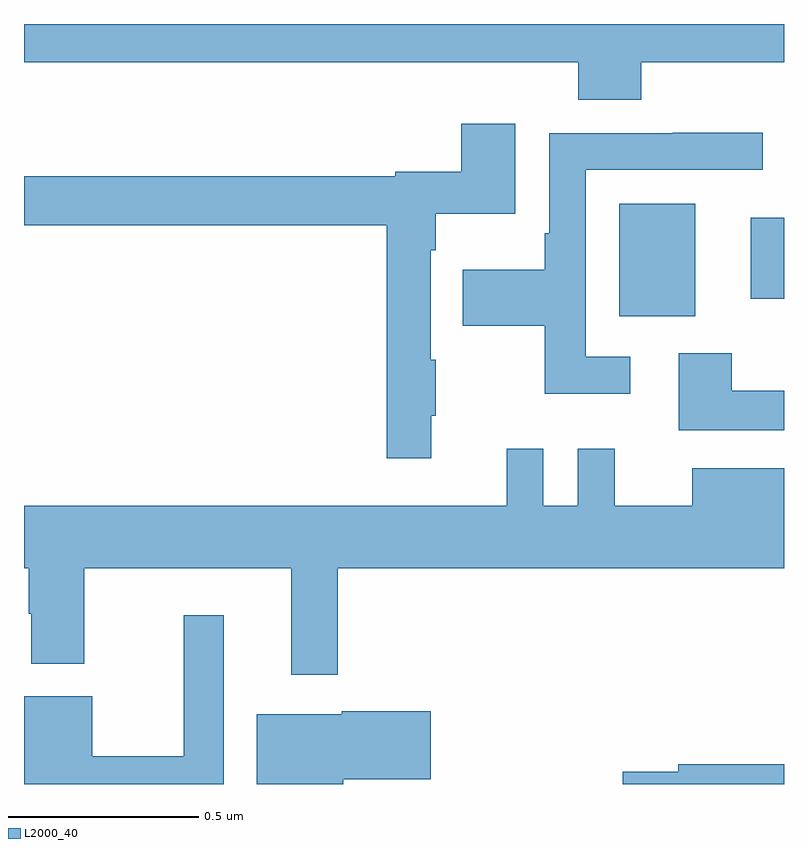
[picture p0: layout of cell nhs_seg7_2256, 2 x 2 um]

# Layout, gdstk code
import gdstk
lib = gdstk.Library(unit=1e-6, precision=1e-09)
def R(c, l, rs):  # rectangles x0, y0, x1, y1
    for r in rs: c.add(gdstk.rectangle(r[:2], r[2:], *l))
def P(c, l, *ps):  # polygons
    for p in ps: c.add(gdstk.Polygon(p, *l))
L2000_40 = (2000, 40)

nhs_seg7_2256 = lib.new_cell('nhs_seg7_2256')
R(nhs_seg7_2256, L2000_40, [(143.567,1049.231,143.767,1049.527), (143.912,1049.277,144,1049.49)])
P(nhs_seg7_2256, L2000_40, [(143.624,1049.9),(144,1049.9),(144,1050),(142,1050),(142,1049.9),(143.459,1049.9),(143.459,1049.801),(143.624,1049.801)],
  [(143.072,1048.969),(143.083,1048.969),(143.083,1049.117),(143.07,1049.117),(143.07,1049.405),(143.083,1049.405),(143.083,1049.501),(143.293,1049.501),(143.293,1049.737),(143.15,1049.737),(143.15,1049.611),(142.977,1049.611),(142.977,1049.599),(142,1049.599),(142,1049.47),(142.954,1049.47),(142.954,1048.857),(143.072,1048.857)],
  [(143.596,1049.124),(143.478,1049.124),(143.478,1049.616),(143.944,1049.616),(143.944,1049.714),(143.707,1049.714),(143.707,1049.712),(143.382,1049.712),(143.382,1049.449),(143.37,1049.449),(143.37,1049.353),(143.155,1049.353),(143.155,1049.206),(143.37,1049.206),(143.37,1049.027),(143.596,1049.027)],
  [(144,1049.035),(143.863,1049.035),(143.863,1049.134),(143.723,1049.134),(143.723,1048.931),(144,1048.931)],
  [(142.825,1048.568),(144,1048.568),(144,1048.831),(143.759,1048.831),(143.759,1048.732),(143.555,1048.732),(143.555,1048.882),(143.457,1048.882),(143.457,1048.732),(143.367,1048.732),(143.367,1048.882),(143.27,1048.882),(143.27,1048.732),(142,1048.732),(142,1048.568),(142.012,1048.568),(142.012,1048.448),(142.019,1048.448),(142.019,1048.316),(142.159,1048.316),(142.159,1048.568),(142.703,1048.568),(142.703,1048.287),(142.825,1048.287)],
  [(142.525,1048.444),(142.421,1048.444),(142.421,1048.073),(142.18,1048.073),(142.18,1048.231),(142,1048.231),(142,1048),(142.525,1048)],
  [(142.84,1048.013),(143.071,1048.013),(143.071,1048.191),(142.836,1048.191),(142.836,1048.183),(142.613,1048.183),(142.613,1048),(142.84,1048)],
  [(144,1048.052),(143.722,1048.052),(143.722,1048.032),(143.576,1048.032),(143.576,1048),(144,1048)])

lib.write_gds('nhs_seg7_2256.gds')
